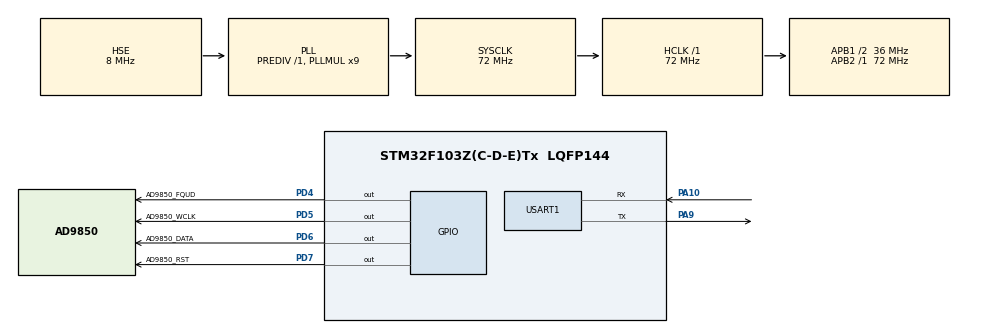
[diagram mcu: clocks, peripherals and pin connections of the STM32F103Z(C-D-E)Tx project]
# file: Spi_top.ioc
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Mcu.Family=STM32F1
Mcu.Name=STM32F103Z(C-D-E)Tx
Mcu.Package=LQFP144
NVIC.PriorityGroup=NVIC_PRIORITYGROUP_4
NVIC.USART1_IRQn=true\:0\:0\:false\:false\:true\:true\:true\:true
OSC_IN.Mode=HSE-External-Oscillator
OSC_IN.Signal=RCC_OSC_IN
OSC_OUT.Mode=HSE-External-Oscillator
OSC_OUT.Signal=RCC_OSC_OUT
PA10.Mode=Asynchronous
PA10.Signal=USART1_RX
PA13.Mode=Serial_Wire
PA13.Signal=SYS_JTMS-SWDIO
PA14.Mode=Serial_Wire
PA14.Signal=SYS_JTCK-SWCLK
PA9.Mode=Asynchronous
PA9.Signal=USART1_TX
PC14-OSC32_IN.Mode=LSE-External-Oscillator
PC14-OSC32_IN.Signal=RCC_OSC32_IN
PC15-OSC32_OUT.Mode=LSE-External-Oscillator
PC15-OSC32_OUT.Signal=RCC_OSC32_OUT
PD4.GPIO_Label=AD9850_FQUD
PD4.Signal=GPIO_Output
PD5.GPIO_Label=AD9850_WCLK
PD5.Signal=GPIO_Output
PD6.GPIO_Label=AD9850_DATA
PD6.Signal=GPIO_Output
PD7.GPIO_Label=AD9850_RST
PD7.Signal=GPIO_Output
ProjectManager.HeapSize=0x200
ProjectManager.StackSize=0x400
ProjectManager.TargetToolchain=MDK-ARM V5.32
RCC.AHBFreq_Value=72000000
RCC.APB1CLKDivider=RCC_HCLK_DIV2
RCC.APB1Freq_Value=36000000
RCC.APB1TimFreq_Value=72000000
RCC.APB2Freq_Value=72000000
RCC.APB2TimFreq_Value=72000000
RCC.HCLKFreq_Value=72000000
RCC.PLLMUL=RCC_PLL_MUL9
RCC.PLLSourceVirtual=RCC_PLLSOURCE_HSE
RCC.SYSCLKFreq_VALUE=72000000
RCC.SYSCLKSource=RCC_SYSCLKSOURCE_PLLCLK
RCC.USBFreq_Value=72000000
USART1.VirtualMode=VM_ASYNC
board=custom

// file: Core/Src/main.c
/* USER CODE BEGIN Header */
/**
  ******************************************************************************
  * @file           : main.c
  * @brief          : Main program body
  ******************************************************************************
  * @attention
  *
  * Copyright (c) 2024 STMicroelectronics.
  * All rights reserved.
  *
  * This software is licensed under terms that can be found in the LICENSE file
  * in the root directory of this software component.
  * If no LICENSE file comes with this software, it is provided AS-IS.
  *
  ******************************************************************************
  */
/* USER CODE END Header */
#include "main.h"
#include "usart.h"
#include "gpio.h"

/* USER CODE BEGIN Includes */
#include <stdio.h>
#include <string.h>
#include "ad9850.h"
#include <stdint.h>
/* USER CODE END Includes */

/* USER CODE BEGIN PD */
#define RXBUFFERSIZE  256     //最大接收字节数
#define COMMAND_START 0x706C6179  //开始将启动SPI控制命令
#define COMMAND_DATA 0x64617461		//展示数据命令
/* USER CODE END PD */
/* USER CODE BEGIN PV */
uint8_t RxBuffer[RXBUFFERSIZE];   //接收数据
uint8_t aRxBuffer;			//接收中断缓冲
uint8_t Uart1_Rx_Cnt = 0;		//接收缓冲计数
uint8_t TX_str1[] = "Welcome!\r\n";
uint32_t data[8] = {
										0xFFFFFFFF,
										0x04600847,
										0x19DF48C4,
										0x00000000,
										0x21D00000,
										0x00000152,
										0x6800006C,
										0x00000000
										};
/* USER CODE END PV */

void SystemClock_Config(void);
/* USER CODE BEGIN PFP */

/*
	@function:把帧数据存储到data中
*/
void process_frame(uint8_t *frame, uint8_t len, uint32_t *data) {
    uint8_t reg = frame[0];
    uint32_t datatem = (frame[1] << 24) | (frame[2] << 16) | (frame[3] << 8) | frame[4];
		data[reg] = datatem;
		printf("Received data (hex) in reg_bank[%d]: 0x%08X\n", reg ,data[reg]);
}

/*
	@fuction:打印data中的数据
*/
void printf_data(){
		for(int i= 0;i<8;i++){
		printf("reg:%d, 0x%08X\n",i,data[i]);

		}
		printf("---------------\n");
}
/*
	@function:处理命令
*/
void process_command(uint8_t *frame,uint32_t* data) {
     uint32_t datatem = (frame[1] << 24) | (frame[2] << 16) | (frame[3] << 8) | frame[4];
    switch (datatem) {
        case COMMAND_START:
            send_data2AD9850(data);
            break;
        case COMMAND_DATA:
            printf_data();
            break;
        default:
            printf("Error control signal: 0x%08X\n", datatem);
            break;
    }
}

 // 串口接收中断回调函数
void HAL_UART_RxCpltCallback(UART_HandleTypeDef *huart)
{
  /* Prevent unused argument(s) compilation warning */
  UNUSED(huart);
	if(Uart1_Rx_Cnt >= 255)  //溢出判断
	{
		Uart1_Rx_Cnt = 0;
		memset(RxBuffer,0x00,sizeof(RxBuffer));
		HAL_UART_Transmit(&huart1, (uint8_t *)"overflow\n", 10,0xFFFF);

	}
	else
	{
		RxBuffer[Uart1_Rx_Cnt++] = aRxBuffer;   //接收数据转存

		if((RxBuffer[Uart1_Rx_Cnt-1] == 0x0A)&&(RxBuffer[Uart1_Rx_Cnt-2] == 0x0D)) //判断结束位
		{
			if(RxBuffer[0] == 0x0D){
				 process_command(RxBuffer,data);
			}
			else if(RxBuffer[0]>=0x00 && RxBuffer[0]<=0x07 && Uart1_Rx_Cnt==7){
				process_frame(RxBuffer,Uart1_Rx_Cnt-2,data);
			}else{
			printf("Please input correct parameter!\n");
			}
				Uart1_Rx_Cnt = 0;
				memset(RxBuffer,0x00,sizeof(RxBuffer)); //清空数组
			}
	}

	HAL_UART_Receive_IT(&huart1, (uint8_t *)&aRxBuffer, 1);   //再开启接收中断
}
/* USER CODE END PFP */

int main(void)
{

  /* MCU Configuration--------------------------------------------------------*/

  /* Reset of all peripherals, Initializes the Flash interface and the Systick. */
  HAL_Init();

  /* Configure the system clock */
  SystemClock_Config();

  /* Initialize all configured peripherals */
  MX_GPIO_Init();
  MX_USART1_UART_Init();
  /* USER CODE BEGIN 2 */
	HAL_UART_Transmit(&huart1,TX_str1,sizeof(TX_str1),10000);
	printf("\n");
	HAL_UART_Receive_IT(&huart1, (uint8_t *)&aRxBuffer, 1);

/* USER CODE END 2 */
  /* USER CODE END 2 */

  /* Infinite loop */
  while (1)
  {
		send_data2AD9850(data);

  }
}

void SystemClock_Config(void)
{
  RCC_OscInitTypeDef RCC_OscInitStruct = {0};
  RCC_ClkInitTypeDef RCC_ClkInitStruct = {0};

  /** Initializes the RCC Oscillators according to the specified parameters
  * in the RCC_OscInitTypeDef structure.
  */
  RCC_OscInitStruct.OscillatorType = RCC_OSCILLATORTYPE_HSE;
  RCC_OscInitStruct.HSEState = RCC_HSE_ON;
  RCC_OscInitStruct.HSEPredivValue = RCC_HSE_PREDIV_DIV1;
  RCC_OscInitStruct.HSIState = RCC_HSI_ON;
  RCC_OscInitStruct.PLL.PLLState = RCC_PLL_ON;
  RCC_OscInitStruct.PLL.PLLSource = RCC_PLLSOURCE_HSE;
  RCC_OscInitStruct.PLL.PLLMUL = RCC_PLL_MUL9;
  if (HAL_RCC_OscConfig(&RCC_OscInitStruct) != HAL_OK)
  {
    Error_Handler();
  }

  /** Initializes the CPU, AHB and APB buses clocks
  */
  RCC_ClkInitStruct.ClockType = RCC_CLOCKTYPE_HCLK|RCC_CLOCKTYPE_SYSCLK
                              |RCC_CLOCKTYPE_PCLK1|RCC_CLOCKTYPE_PCLK2;
  RCC_ClkInitStruct.SYSCLKSource = RCC_SYSCLKSOURCE_PLLCLK;
  RCC_ClkInitStruct.AHBCLKDivider = RCC_SYSCLK_DIV1;
  RCC_ClkInitStruct.APB1CLKDivider = RCC_HCLK_DIV2;
  RCC_ClkInitStruct.APB2CLKDivider = RCC_HCLK_DIV1;

  if (HAL_RCC_ClockConfig(&RCC_ClkInitStruct, FLASH_LATENCY_2) != HAL_OK)
  {
    Error_Handler();
  }
}

void Error_Handler(void)
{
  __disable_irq();
  while (1)
  {
  }
}
